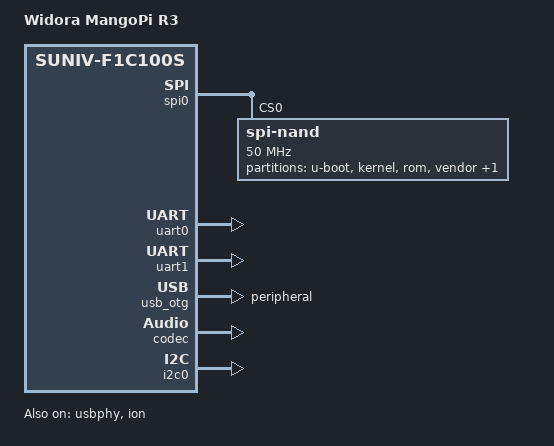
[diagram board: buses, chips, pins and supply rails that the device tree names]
// SPDX-License-Identifier: (GPL-2.0+ OR X11)

/dts-v1/;
#include "suniv-f1c100s.dtsi"

/ {
	model = "Widora MangoPi R3";
	compatible = "allwinner,suniv-f1c200s",
			 "allwinner,suniv-f1c100s";

	aliases {
		serial0 = &uart1;
	};

	chosen {
		#address-cells = <1>;
		#size-cells = <1>;
		stdout-path = "serial0:115200n8";
		ranges;
		//for NAND or Nor
		//bootargs = "console=ttyS0,115200 rootwait init=/preinit root=/dev/mtdblock2 rootfstype=squashfs overlayfsdev=/dev/mtdblock3"; 
		//for sd-card
		bootargs = "console=ttyS0,115200 earlyprintk rootwait init=/preinit root=/dev/mmcblk0p3";
		simplefb_lcd: framebuffer-lcd0 {
			compatible = "allwinner,simple-framebuffer",
				     "simple-framebuffer";
			allwinner,pipeline = "de_be0-lcd0";
			clocks = <&ccu CLK_BUS_DE_BE>, <&ccu CLK_DE_BE>,
				 <&ccu CLK_DRAM_DE_BE>, <&ccu CLK_BUS_LCD>,
				 <&ccu CLK_TCON>;
			status = "disabled";
		};
	};

	// panel: panel {
	// 	compatible = "bananapi,s070wv20-ct16", "simple-panel";
	// 	#address-cells = <1>;
	// 	#size-cells = <0>;

	// 	port@0 {
	// 		reg = <0>;
	// 		#address-cells = <1>;
	// 		#size-cells = <0>;

	// 		panel_input: endpoint@0 {
	// 			reg = <0>;
	// 			remote-endpoint = <&tcon0_out_lcd>;
	// 		};
	// 	};
	// };
};

&spi0 {
	status = "okay";

	spi-nand@0 {
		#address-cells = <1>;
		#size-cells = <1>;
		compatible = "spi-nand";
		reg = <0>;
		spi-max-frequency = <50000000>;
		partitions {
			compatible = "fixed-partitions";
			#address-cells = <1>;
			#size-cells = <1>;

			partition@0 {
				label = "u-boot";
				reg = <0x000000 0x100000>;
				read-only;
			};

			partition@1 {
				label = "kernel";
				reg = <0x100000 0x500000>;
				read-only;
			};

			partition@2 {
				label = "rom";
				reg = <0x600000 0x2a00000>;
				read-only;
			};

			partition@3 {
				label = "vendor";
				reg = <0x3000000 0x1000000>;
			};

			partition@4 {
				label = "overlay";
				reg = <0x4000000 0x3000000>;
			};
		};
	};
};

&uart0 {
	pinctrl-names = "default";
	pinctrl-0 = <&uart0_pe_pins>;
	status = "okay";
};

&uart1 {
	pinctrl-names = "default";
	pinctrl-0 = <&uart1_pa_pins>;
	status = "okay";
};

&otg_sram {
	status = "okay";
};

&usb_otg {
	dr_mode = "peripheral"; /* host peripheral */
	status = "okay";
};

&usbphy {
	status = "okay";
};

&ion {
	status = "okay";
};

// &de {
// 	status = "okay";
// };

// &fe0 {
// 	status = "okay";
// };

// &be0 {
// 	status = "okay";
// };

// &tve0 {
// 	status = "okay";
// };

// &tcon0 {
// 	pinctrl-names = "default";
// 	pinctrl-0 = <&lcd_rgb565_pins>;
// 	status = "okay";
// };

// &tcon0_out {
// 	tcon0_out_lcd: endpoint@0 {
// 		reg = <0>;
// 		remote-endpoint = <&panel_input>;
// 	};
// };

&codec {
	allwinner,audio-routing =
		"Headphone", "HP",
		"Headphone", "HPCOM",
		"LINEIN", "Line In",
		"FMINL", "Left FM In",
		"FMINR", "Right FM In",
		"MIC", "Mic";
	status = "okay";
};

&i2c0 {
	pinctrl-names = "default";
	pinctrl-0 = <&i2c0_pd_pins>;
	status = "okay";
};
